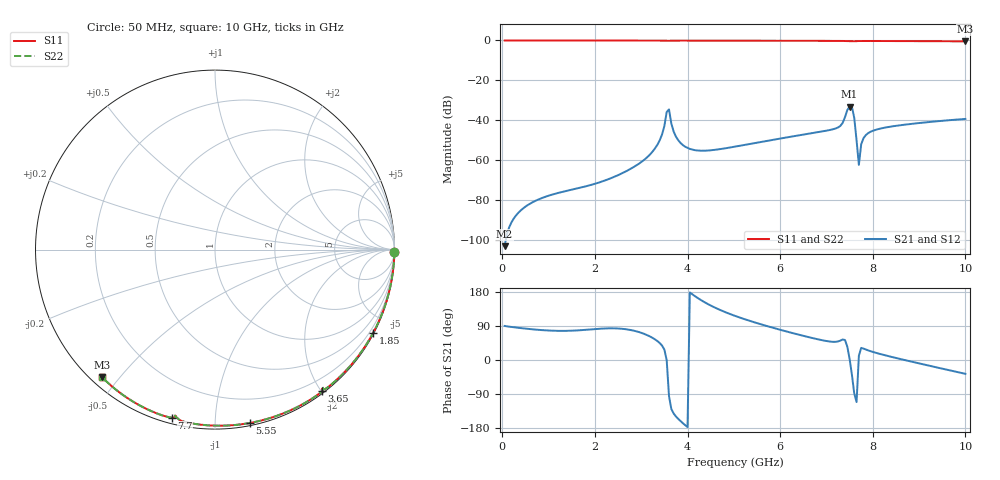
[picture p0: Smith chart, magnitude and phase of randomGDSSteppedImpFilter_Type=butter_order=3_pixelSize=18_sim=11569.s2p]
! freq	dB(S11)	phase(S11)	dB(S12)	phase(S12)
!  dB(S21)	phase(S21)	dB(S22)	phase(S22)
!S-par simulation data
#  GHz  S  DB  R 50
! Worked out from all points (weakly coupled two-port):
!   200 points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, 50 MHz to 10 GHz, reference 50 ohm
!   highest |S21| = -33.12 dB at 7.5 GHz (marker M1); lowest = -103.0 dB at 50 MHz (marker M2)
!   lowest |S11| = -0.5 dB at 10 GHz (marker M3), VSWR 38.49, Z = 1.56 - j22.5 ohm
!   |S11| at or under -10 dB: nowhere
!   |S22| runs from -0.5 to 0.0 dB; largest |S21 - S12| = 0
!   S11 on the Smith chart (normalised r, x): 50 MHz: open; 1.85 GHz: 0.04, -4.06; 3.65 GHz: 0.03, -2.01; 5.55 GHz: 0.02, -1.22; 7.7 GHz: 0.03, -0.77; 10 GHz: 0.03, -0.45
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0.05  -0.01 -0.8  -103.01 89.9  -103.01 89.9  -0.01 -0.8
0.75  -0.01 -11.3  -79.93 79.9  -79.93 79.9  -0.01 -11.3
1.75  -0.03 -26.2  -73.36 79.1  -73.36 79.1  -0.03 -26.2
1.85  -0.04 -27.7  -72.76 80.1  -72.76 80.1  -0.04 -27.7
2.9  -0.06 -42.9  -62.49 75.5  -62.49 75.5  -0.06 -42.9
3.4  -0.07 -50.1  -49.96 44.7  -49.96 44.7  -0.07 -50.1
3.55  -0.16 -52.7  -35.82 -0.4  -35.82 -0.4  -0.16 -52.7
3.6  -0.20 -52.0  -34.55 -95.5  -34.55 -95.5  -0.20 -52.0
3.65  -0.10 -52.9  -41.59 -129.2  -41.59 -129.2  -0.10 -52.9
3.8  -0.08 -55.3  -49.98 -155.5  -49.98 -155.5  -0.08 -55.3
4.05  -0.08 -58.8  -54.32 178.2  -54.32 178.2  -0.08 -58.8
5.05  -0.11 -72.2  -53.07 115.4  -53.07 115.4  -0.11 -72.2
5.55  -0.13 -78.7  -50.96 95.5  -50.96 95.5  -0.13 -78.7
6.7  -0.18 -93.2  -46.40 57.8  -46.40 57.8  -0.18 -93.2
7.3  -0.24 -100.8  -42.79 51.2  -42.79 51.2  -0.24 -100.9
7.5  -0.36 -103.1  -33.12 2.7  -33.12 2.7  -0.37 -103.1
7.6  -0.42 -103.2  -38.71 -88.5  -38.71 -88.5  -0.41 -103.2
7.7  -0.30 -104.5  -62.30 11.3  -62.30 11.3  -0.29 -104.5
7.75  -0.28 -105.1  -51.98 32.0  -51.98 32.0  -0.28 -105.2
7.85  -0.27 -106.5  -47.38 27.6  -47.38 27.6  -0.27 -106.5
8.35  -0.29 -112.5  -43.29 9.8  -43.29 9.8  -0.29 -112.5
10  -0.45 -131.5  -39.29 -36.5  -39.29 -36.5  -0.45 -131.5
